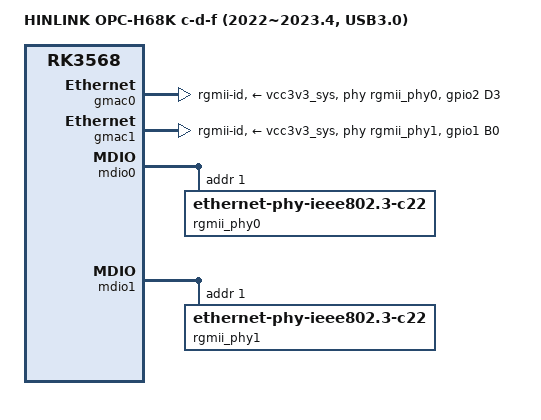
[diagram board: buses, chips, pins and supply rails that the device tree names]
// SPDX-License-Identifier: (GPL-2.0+ OR MIT)
/*
 * HinLink OPC-H68K c-d-f (USB3.0)
 *
 * HinLink 适配 for immortalwrt —— 每机型独立 DTS，不做自适应。
 *
 * 硬件事实来源：厂商 2022 R22.8.22 (armv8-h68k-c) 与 2023 R23.4.20 固件 dtb
 * 蓝本：OpenWrt 主线 rk3568-hinlink-h68k.dts
 *
 * ★ 本文件承载四个历史标识（硬件配置完全相同，2026-10-12 合并）：
 *     hinlink,opc-h68k-c-usb    —— 2022 C/D/F 的 USB3.0 变体
 *     hinlink,opc-h68k-c-usb3   —— 2022.8 的 c-usb3 改型
 *     hinlink,opc-h68k-d-usb    —— 2023.4 D 的 USB3.0 变体
 *                                  （原 rk3568-hinlink-h68k-d-usb.dts，
 *                                    与 c-usb3 归一化后 0 行差异）
 *   都是「c-d-f 基础上把 SATA 口改成 USB 3.0」，DTS 无差异，
 *   故合并为一份 DTS，用多个 compatible 兼容旧固件的 board 匹配。
 *   映射：LAN eth1 eth2 eth3 / **WAN eth0**。
 *   ⚠️ 2026-10-12 实机更正：原来写的是「LAN eth0 eth2 eth3 / WAN eth1」，错了。
 *
 * ★ USB3.0 变体（文件名带 -usb）：sata0 禁用，combphy0 供 USB3.0
 */

/dts-v1/;

#include "rk3568-hinlink-opc.dtsi"

/ {
	model = "HINLINK OPC-H68K c-d-f (2022~2023.4, USB3.0)";
	compatible = "hinlink,opc-h68k-c-d-f-usb", "hinlink,opc-h68k-c-usb3", "hinlink,opc-h68k-c-usb", "hinlink,opc-h68k-d-usb", "hinlink,h68k", "linkstar,h68k", "rockchip,rk3568";

	aliases {
		ethernet0 = &gmac0;
		ethernet1 = &gmac1;
	};
};
&gmac0 {
	assigned-clocks = <&cru SCLK_GMAC0_RX_TX>, <&cru SCLK_GMAC0>;
	assigned-clock-parents = <&cru SCLK_GMAC0_RGMII_SPEED>;
	assigned-clock-rates = <0>, <125000000>;
	clock_in_out = "output";
	phy-mode = "rgmii-id";
	phy-supply = <&vcc3v3_sys>;
	pinctrl-names = "default";
	pinctrl-0 = <&gmac0_miim
		     &gmac0_tx_bus2
		     &gmac0_rx_bus2
		     &gmac0_rgmii_clk
		     &gmac0_rgmii_bus
		     &gmac0_rstn>;
	snps,reset-gpios = <&gpio2 RK_PD3 GPIO_ACTIVE_LOW>;
	snps,reset-active-low;
	snps,reset-delays-us = <0 20000 100000>;
	tx_delay = <0x3c>;
	rx_delay = <0x2f>;
	phy-handle = <&rgmii_phy0>;
	status = "okay";
};

&gmac1 {
	assigned-clocks = <&cru SCLK_GMAC1_RX_TX>, <&cru SCLK_GMAC1>;
	assigned-clock-parents = <&cru SCLK_GMAC1_RGMII_SPEED>;
	assigned-clock-rates = <0>, <125000000>;
	clock_in_out = "output";
	phy-mode = "rgmii-id";
	phy-supply = <&vcc3v3_sys>;
	pinctrl-names = "default";
	pinctrl-0 = <&gmac1m1_miim
		     &gmac1m1_tx_bus2
		     &gmac1m1_rx_bus2
		     &gmac1m1_rgmii_clk
		     &gmac1m1_rgmii_bus
		     &gmac1_rstn>;
	snps,reset-gpios = <&gpio1 RK_PB0 GPIO_ACTIVE_LOW>;
	snps,reset-active-low;
	snps,reset-delays-us = <0 20000 100000>;
	tx_delay = <0x4f>;
	rx_delay = <0x26>;
	phy-handle = <&rgmii_phy1>;
	status = "okay";
};

&mdio0 {
	rgmii_phy0: ethernet-phy@1 {
		compatible = "ethernet-phy-ieee802.3-c22";
		reg = <0x1>;
	};
};

&mdio1 {
	rgmii_phy1: ethernet-phy@1 {
		compatible = "ethernet-phy-ieee802.3-c22";
		reg = <0x1>;
	};
};

&pinctrl {
	gmac {
		gmac0_rstn: gmac0-rstn {
			rockchip,pins = <2 RK_PD3 RK_FUNC_GPIO &pcfg_pull_none>;
		};

		gmac1_rstn: gmac1-rstn {
			rockchip,pins = <1 RK_PB0 RK_FUNC_GPIO &pcfg_pull_none>;
		};
	};
};

/* ============================================================
 * 本改型即「USB3.0 版」—— combphy0 已分配给 USB3.0
 *
 * 2022.8 的 c-usb3 / 2023.4 的 d-usb 都是在 C/D/F 基础上把 SATA 口改成 USB 3.0
 * 的改型，因此不需要再拆 SATA 变体。需要 SATA 的机器请用
 * rk3568-hinlink-h68k-c-d-f.dts。
 *
 * ★ RK3568 硬件复用（rk3568.dtsi 实证）：
 *     sata0  phys = <&combphy0 PHY_TYPE_SATA>   (phy@fe820000)
 *     USB3.0 也需要 combphy0 作 PHY_TYPE_USB3
 *   combphy 同一时刻只能一种 PHY_TYPE ⇒ 二选一。
 *
 * ★ 该复用只存在于 2022-2023 老机器（h68k-a-b / c-d-f 两组的两个变体）。
 *   新机 h68k-new 与 h69k 系不涉及，两者可同时使用。
 * ============================================================ */

&sata0 {
	status = "disabled";
};
